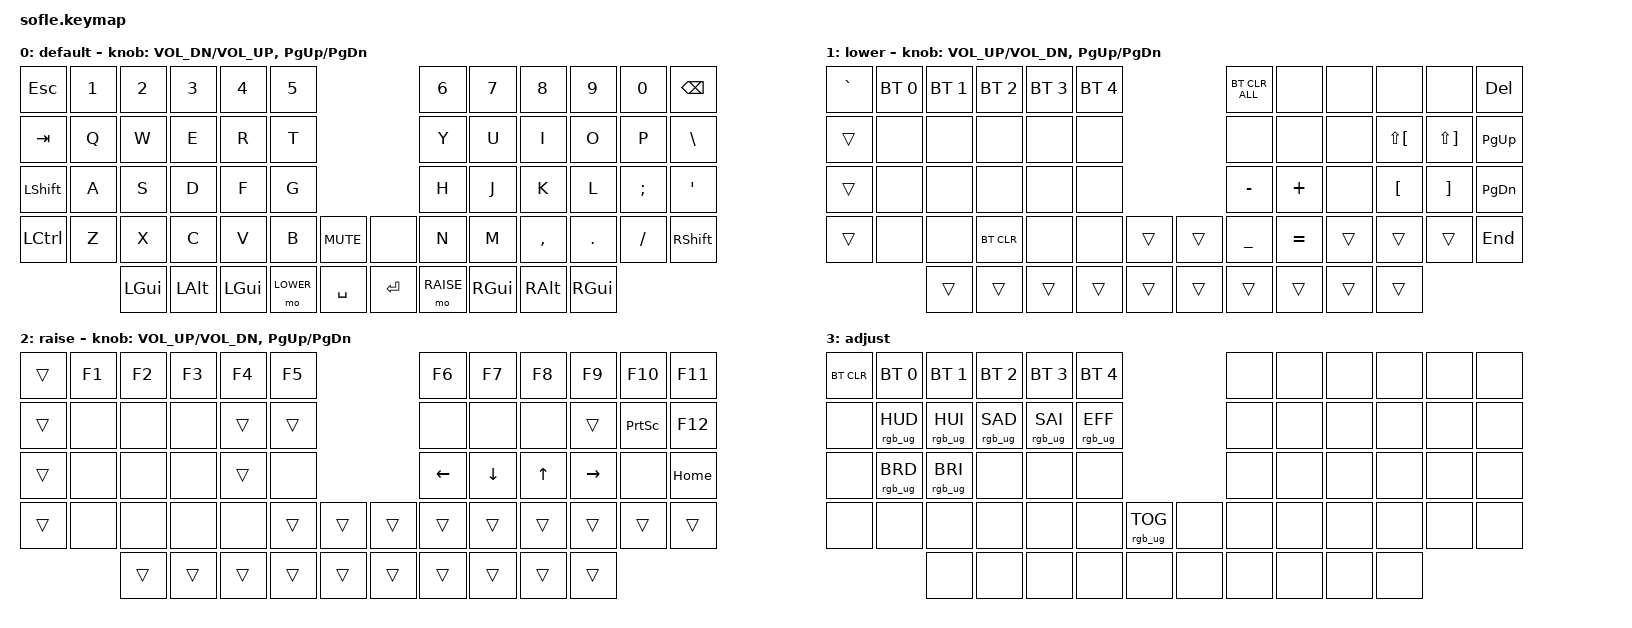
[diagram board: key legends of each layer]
/*
 * Copyright (c) 2020 The ZMK Contributors
 *
 * SPDX-License-Identifier: MIT
 */

#include <behaviors.dtsi>
#include <dt-bindings/zmk/bt.h>
#include <dt-bindings/zmk/keys.h>
#include <dt-bindings/zmk/rgb.h>

#define BASE 0
#define LOWER 1
#define RAISE 2
#define ADJUST 3

/ {
    // Activate ADJUST layer by pressing raise and lower

    conditional_layers {
        compatible = "zmk,conditional-layers";

        adjust_layer {
            if-layers = <LOWER RAISE>;
            then-layer = <ADJUST>;
        };
    };

    keymap {
        compatible = "zmk,keymap";

        default_layer {
            label = "default";

            // ------------------------------------------------------------------------------------------------------------
            // |   `   |  1  |  2  |  3   |  4   |  5   |                   |  6   |  7    |  8    |  9   |   0   |       |
            // |  ESC  |  Q  |  W  |  E   |  R   |  T   |                   |  Y   |  U    |  I    |  O   |   P   | BKSPC |
            // |  TAB  |  A  |  S  |  D   |  F   |  G   |                   |  H   |  J    |  K    |  L   |   ;   |   '   |
            // | SHIFT |  Z  |  X  |  C   |  V   |  B   |  MUTE  |  |       |  N   |  M    |  ,    |  .   |   /   | SHIFT |
            //               | GUI | ALT  | CTRL | LOWER|  ENTER |  | SPACE | RAISE| CTRL  | ALT   | GUI  |

            bindings = <
&kp ESCAPE      &kp N1  &kp N2    &kp N3    &kp N4        &kp N5                              &kp N6     &kp N7    &kp N8     &kp N9    &kp N0    &kp BACKSPACE
&kp TAB         &kp Q   &kp W     &kp E     &kp R         &kp T                               &kp Y      &kp U     &kp I      &kp O     &kp P     &kp BACKSLASH
&kp LEFT_SHIFT  &kp A   &kp S     &kp D     &kp F         &kp G                               &kp H      &kp J     &kp K      &kp L     &kp SEMI  &kp SQT
&kp LCTRL       &kp Z   &kp X     &kp C     &kp V         &kp B      &kp C_MUTE    &none      &kp N      &kp M     &kp COMMA  &kp DOT   &kp FSLH  &kp RSHFT
                        &kp LGUI  &kp LALT  &kp LEFT_GUI  &mo LOWER  &kp SPACE     &kp ENTER  &mo RAISE  &kp RGUI  &kp RALT   &kp RGUI
            >;

            sensor-bindings =
                <&inc_dec_kp C_VOL_DN C_VOL_UP>,
                <&inc_dec_kp PG_UP PG_DN>;
        };

        lower_layer {
            label = "lower";

            // TODO: Some binds are waiting for shifted keycode support.
            // ------------------------------------------------------------------------------------------------------------
            // |       |  F1 |  F2 |  F3  |  F4  |  F5  |                   |  F6  |  F7   |  F8   |  F9  |  F10  |  F11  |
            // |   `   |  1  |  2  |  3   |  4   |  5   |                   |  6   |  7    |  8    |  9   |   0   |  F12  |
            // |       |  !  |  @  |  #   |  $   |  %   |                   |  ^   |  &    |  *    |  (   |   )   |   |   |
            // |       |  =  |  -  |  +   |  {   |  }   |        |  |       |  [   |  ]    |  ;    |  :   |   \   |       |
            //               |     |      |      |      |        |  |       |      |       |       |      |

            bindings = <
&kp GRAVE  &bt BT_SEL 0  &bt BT_SEL 1  &bt BT_SEL 2  &bt BT_SEL 3  &bt BT_SEL 4                    &bt BT_CLR_ALL  &none      &none   &none                 &none                  &kp DEL
&trans     &none         &none         &none         &none         &none                           &none           &none      &none   &kp LS(LEFT_BRACKET)  &kp LS(RIGHT_BRACKET)  &kp PG_UP
&trans     &none         &none         &none         &none         &none                           &kp MINUS       &kp PLUS   &none   &kp LEFT_BRACKET      &kp RIGHT_BRACKET      &kp PAGE_DOWN
&trans     &none         &none         &bt BT_CLR    &none         &none         &trans    &trans  &kp UNDERSCORE  &kp EQUAL  &trans  &trans                &trans                 &kp END
                         &trans        &trans        &trans        &trans        &trans    &trans  &trans          &trans     &trans  &trans
            >;

            sensor-bindings =
                <&inc_dec_kp C_VOL_UP C_VOL_DN>,
                <&inc_dec_kp PG_UP PG_DN>;
        };

        raise_layer {
            label = "raise";

            // ------------------------------------------------------------------------------------------------------------
            // | BTCLR | BT1  | BT2  |  BT3  |  BT4  |  BT5 |                |      |      |       |      |       |       |
            // |       | INS  | PSCR | GUI   |       |      |                | PGUP |      |   ^   |      |       |       |
            // |       | ALT  | CTRL | SHIFT |       | CAPS |                | PGDN |   <- |   v   |  ->  |  DEL  | BKSPC |
            // |       | UNDO | CUT  | COPY  | PASTE |      |      |  |      |      |      |       |      |       |       |
            //                |      |       |       |      |      |  |      |      |      |       |      |

            bindings = <
&trans  &kp F1  &kp F2  &kp F3  &kp F4  &kp F5                    &kp F6          &kp F7          &kp F8        &kp F9     &kp F10          &kp F11
&trans  &none   &none   &none   &trans  &trans                    &none           &none           &none         &trans     &kp PRINTSCREEN  &kp F12
&trans  &none   &none   &none   &trans  &none                     &kp LEFT_ARROW  &kp DOWN_ARROW  &kp UP_ARROW  &kp RIGHT  &none            &kp HOME
&trans  &none   &none   &none   &none   &trans  &trans    &trans  &trans          &trans          &trans        &trans     &trans           &trans
                &trans  &trans  &trans  &trans  &trans    &trans  &trans          &trans          &trans        &trans
            >;

            sensor-bindings = <&inc_dec_kp C_VOL_UP C_VOL_DN &inc_dec_kp PG_UP PG_DN>;
        };

        adjust_layer {
            // ----------------------------------------------------------------------------------------------------------------------------
            // | BTCLR  |  BT1    |  BT2    |   BT3   |   BT4   |   BT5   |                  |      |      |       |      |       |       |
            // | EXTPWR | RGB_HUD | RGB_HUI | RGB_SAD | RGB_SAI | RGB_EFF |                  |      |      |       |      |       |       |
            // |        | RGB_BRD | RGB_BRI |         |         |         |                  |      |      |       |      |       |       |
            // |        |         |         |         |         |         | RGB_TOG | |      |      |      |       |      |       |       |
            //                    |         |         |         |         |         | |      |      |      |       |      |

            label = "adjust";
            bindings = <
&bt BT_CLR  &bt BT_SEL 0     &bt BT_SEL 1     &bt BT_SEL 2     &bt BT_SEL 3     &bt BT_SEL 4                               &none  &none  &none  &none  &none  &none
&none       &rgb_ug RGB_HUD  &rgb_ug RGB_HUI  &rgb_ug RGB_SAD  &rgb_ug RGB_SAI  &rgb_ug RGB_EFF                            &none  &none  &none  &none  &none  &none
&none       &rgb_ug RGB_BRD  &rgb_ug RGB_BRI  &none            &none            &none                                      &none  &none  &none  &none  &none  &none
&none       &none            &none            &none            &none            &none            &rgb_ug RGB_TOG    &none  &none  &none  &none  &none  &none  &none
                             &none            &none            &none            &none            &none              &none  &none  &none  &none  &none
            >;
        };
    };
};
